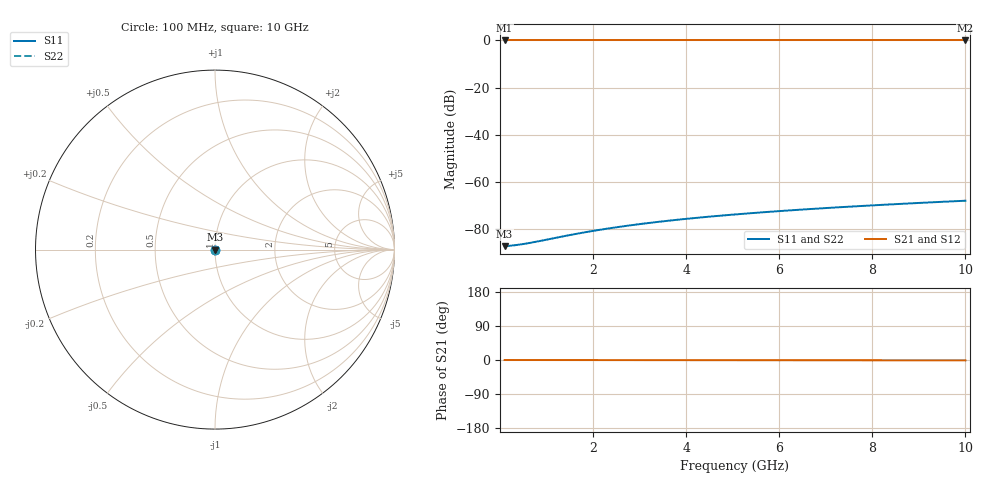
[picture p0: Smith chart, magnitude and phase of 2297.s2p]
# Hz S RI R 50.00
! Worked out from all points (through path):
!   100 points, 100 MHz to 10 GHz, reference 50 ohm
!   highest |S21| = 0.00 dB at 100 MHz (marker M1); lowest = 0.0 dB at 10 GHz (marker M2)
!   lowest |S11| = -87.1 dB at 100 MHz (marker M3), VSWR 1.00, Z = 50 + j0.00041 ohm
!   |S11| at or under -10 dB: start of sweep to end of sweep
!   |S22| runs from -87.1 to -67.8 dB; largest |S21 - S12| = 0
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1e8  4.4e-05 4.1e-06  1 -0.00017  1 -0.00017  4.4e-05 4.1e-06
1.8e9  4.51e-05 7.33e-05  0.9999 -0.00307  0.9999 -0.00307  4.51e-05 7.33e-05
2.2e9  4.52e-05 8.94e-05  0.9999 -0.00375  0.9999 -0.00375  4.52e-05 8.94e-05
2.5e9  4.52e-05 0.000101  0.9999 -0.00426  0.9999 -0.00426  4.52e-05 0.000101
2.8e9  4.53e-05 0.000113  0.9999 -0.00477  0.9999 -0.00477  4.53e-05 0.000113
3.1e9  4.54e-05 0.000125  0.9999 -0.00529  0.9999 -0.00529  4.54e-05 0.000125
3.4e9  4.55e-05 0.000137  0.9999 -0.0058  0.9999 -0.0058  4.55e-05 0.000137
3.6e9  4.55e-05 0.000145  0.9999 -0.00614  0.9999 -0.00614  4.55e-05 0.000145
3.8e9  4.56e-05 0.000153  0.9999 -0.00648  0.9999 -0.00648  4.56e-05 0.000153
4.2e9  4.57e-05 0.000169  0.9999 -0.00717  0.9999 -0.00717  4.57e-05 0.000169
4.6e9  4.59e-05 0.000185  0.9999 -0.00785  0.9999 -0.00785  4.59e-05 0.000185
5.1e9  4.61e-05 0.000204  0.9999 -0.00871  0.9999 -0.00871  4.61e-05 0.000204
5.5e9  4.63e-05 0.00022  0.9999 -0.0094  0.9999 -0.0094  4.63e-05 0.00022
5.9e9  4.65e-05 0.000236  0.9999 -0.0101  0.9999 -0.0101  4.65e-05 0.000236
6.3e9  4.68e-05 0.000252  0.9999 -0.0108  0.9999 -0.0108  4.68e-05 0.000252
6.7e9  4.71e-05 0.000267  0.9999 -0.0115  0.9999 -0.0115  4.71e-05 0.000267
7.1e9  4.74e-05 0.000283  0.9999 -0.0121  0.9999 -0.0121  4.74e-05 0.000283
7.5e9  4.77e-05 0.000299  0.9999 -0.0128  0.9999 -0.0128  4.77e-05 0.000299
7.9e9  4.8e-05 0.000315  0.9999 -0.0135  0.9999 -0.0135  4.8e-05 0.000315
8.4e9  4.85e-05 0.000336  0.9998 -0.0144  0.9998 -0.0144  4.85e-05 0.000336
9.2e9  4.93e-05 0.000368  0.9998 -0.0158  0.9998 -0.0158  4.93e-05 0.000368
1e10  5.02e-05 0.000402  0.9998 -0.0172  0.9998 -0.0172  5.02e-05 0.000402
